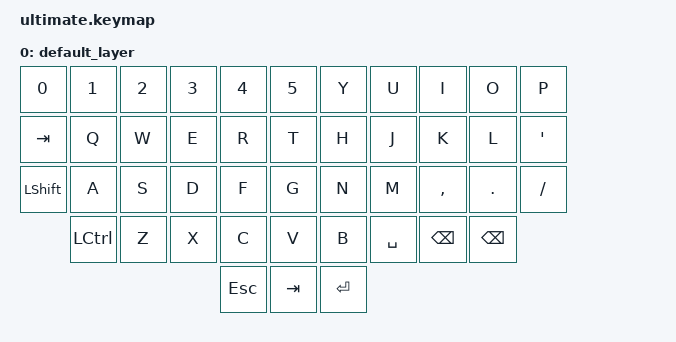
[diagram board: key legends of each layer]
#include <behaviors.dtsi>
#include <dt-bindings/zmk/keys.h>

/ {
     keymap {
        compatible = "zmk,keymap";
        default_layer {
            bindings = <
        //╭──────────┬──────────┬──────────┬──────────┬──────────┬──────────╮   ╭──────────┬──────────┬──────────┬──────────┬──────────╮
        //│  0       │  1       │  2       │  3       │  4       │  5       │   │  Y       │  U       │  I       │  O       │  P       │
            &kp N0      &kp N1     &kp N2     &kp N3     &kp N4     &kp N5          &kp Y      &kp U      &kp I      &kp O      &kp P
        //├──────────┼──────────┼──────────┼──────────┼──────────├──────────┤   ├──────────┼──────────┼──────────┼──────────┼──────────┤
        //│  TAB     │  Q       │  W       │  E       │  R       │  T       │   │  H       │  J       │  K       │  L       │ ' "      │
            &kp TAB      &kp Q      &kp W      &kp E      &kp R      &kp T         &kp H      &kp J       &kp K      &kp   L   &kp  SQT
        //├──────────├──────────┼──────────┼──────────┼──────────┼──────────┤   ├──────────┼──────────┼──────────┼──────────┼──────────┤
        //│  LSHFT   │  A       │  S       │  D       │  F       │  G       │   │  N       │  M       │ , <      │ . >      │ / ?      │
            &kp LSHFT   &kp A      &kp S       &kp D      &kp F     &kp G        &kp N      &kp M      &kp COMMA  &kp DOT    &kp FSLH 
        //├──────────├──────────┼──────────┼──────────┼──────────┼──────────┤   ├──────────┼──────────┼──────────┴──────────┴──────────╯
        //│  LCTRL   │  Z       │  X       │  C       │  V       │  B       │   │ SPACE    │Backspace │ Backspace│
            &kp LCTRL &kp Z      &kp X      &kp C      &kp V      &kp B          &kp SPACE  &kp BSPC    &kp BSPC
        //╰──────────┴──────────┴──────────┴──────────┼──────────┼──────────┤   ╰──────────┴──────────┴──────────╯
                                             &kp ESC   &kp TAB     &kp ENTER 
        //                                 ╰──────────┴──────────┴──────────╯   
            >;
        };
     };
 };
